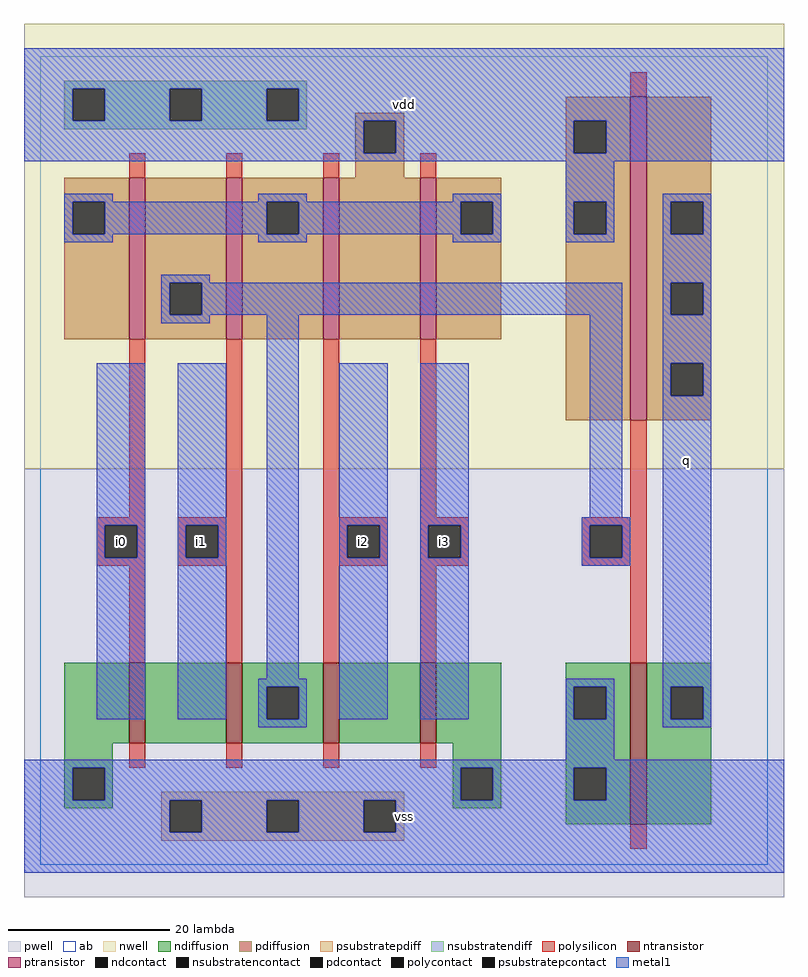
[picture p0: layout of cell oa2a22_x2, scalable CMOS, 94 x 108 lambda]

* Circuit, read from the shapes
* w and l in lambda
.subckt oa2a22_x2 i0 i1 i2 i3 q vdd vss
M1 n1 i0 vss vss nfet w=10 l=2
M2 n2 i1 n1 vss nfet w=10 l=2
M3 n3 i2 n2 vss nfet w=10 l=2
M4 vss i3 n3 vss nfet w=10 l=2
M5 q n2 vss vss nfet w=20 l=2
M6 n2 i0 n4 vdd pfet w=20 l=2
M7 n4 i1 n2 vdd pfet w=20 l=2
M8 vdd i2 n4 vdd pfet w=20 l=2
M9 n4 i3 vdd vdd pfet w=20 l=2
M10 q n2 vdd vdd pfet w=40 l=2
.ends

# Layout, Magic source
magic
tech scmos
<< ab >>
rect 0 0 90 100
<< pwell >>
rect -2 -4 92 49
<< nwell >>
rect -2 49 92 104
<< polysilicon >>
rect 73 95 75 98
rect 11 85 13 88
rect 23 85 25 88
rect 35 85 37 88
rect 47 85 49 88
rect 11 43 13 65
rect 23 43 25 65
rect 7 42 13 43
rect 7 38 8 42
rect 12 38 13 42
rect 7 37 13 38
rect 17 42 25 43
rect 17 38 18 42
rect 22 38 25 42
rect 17 37 25 38
rect 11 25 13 37
rect 23 25 25 37
rect 35 43 37 65
rect 47 43 49 65
rect 73 43 75 55
rect 35 42 43 43
rect 35 38 38 42
rect 42 38 43 42
rect 35 37 43 38
rect 47 42 53 43
rect 47 38 48 42
rect 52 38 53 42
rect 47 37 53 38
rect 67 42 75 43
rect 67 38 68 42
rect 72 38 75 42
rect 67 37 75 38
rect 35 25 37 37
rect 47 25 49 37
rect 73 25 75 37
rect 11 12 13 15
rect 23 12 25 15
rect 35 12 37 15
rect 47 12 49 15
rect 73 2 75 5
<< ndiffusion >>
rect 3 15 11 25
rect 13 15 23 25
rect 25 22 35 25
rect 25 18 28 22
rect 32 18 35 22
rect 25 15 35 18
rect 37 15 47 25
rect 49 15 57 25
rect 3 12 9 15
rect 51 12 57 15
rect 3 8 4 12
rect 8 8 9 12
rect 3 7 9 8
rect 51 8 52 12
rect 56 8 57 12
rect 51 7 57 8
rect 65 22 73 25
rect 65 18 66 22
rect 70 18 73 22
rect 65 12 73 18
rect 65 8 66 12
rect 70 8 73 12
rect 65 5 73 8
rect 75 22 83 25
rect 75 18 78 22
rect 82 18 83 22
rect 75 5 83 18
<< pdiffusion >>
rect 39 92 45 93
rect 39 88 40 92
rect 44 88 45 92
rect 65 92 73 95
rect 65 88 66 92
rect 70 88 73 92
rect 39 85 45 88
rect 3 82 11 85
rect 3 78 4 82
rect 8 78 11 82
rect 3 65 11 78
rect 13 72 23 85
rect 13 68 16 72
rect 20 68 23 72
rect 13 65 23 68
rect 25 82 35 85
rect 25 78 28 82
rect 32 78 35 82
rect 25 65 35 78
rect 37 65 47 85
rect 49 82 57 85
rect 49 78 52 82
rect 56 78 57 82
rect 49 65 57 78
rect 65 82 73 88
rect 65 78 66 82
rect 70 78 73 82
rect 65 55 73 78
rect 75 82 83 95
rect 75 78 78 82
rect 82 78 83 82
rect 75 72 83 78
rect 75 68 78 72
rect 82 68 83 72
rect 75 62 83 68
rect 75 58 78 62
rect 82 58 83 62
rect 75 55 83 58
<< metal1 >>
rect -2 96 92 101
rect -2 92 4 96
rect 8 92 16 96
rect 20 92 28 96
rect 32 92 92 96
rect -2 88 40 92
rect 44 88 66 92
rect 70 88 92 92
rect -2 87 92 88
rect 3 82 9 83
rect 27 82 33 83
rect 51 82 57 83
rect 3 78 4 82
rect 8 78 28 82
rect 32 78 52 82
rect 56 78 57 82
rect 3 77 9 78
rect 27 77 33 78
rect 51 77 57 78
rect 65 82 71 87
rect 65 78 66 82
rect 70 78 71 82
rect 65 77 71 78
rect 77 82 83 83
rect 77 78 78 82
rect 82 78 83 82
rect 15 72 21 73
rect 77 72 83 78
rect 15 68 16 72
rect 20 68 72 72
rect 15 67 21 68
rect 7 42 13 62
rect 7 38 8 42
rect 12 38 13 42
rect 7 18 13 38
rect 17 42 23 62
rect 17 38 18 42
rect 22 38 23 42
rect 17 18 23 38
rect 28 23 32 68
rect 37 42 43 62
rect 37 38 38 42
rect 42 38 43 42
rect 27 22 33 23
rect 27 18 28 22
rect 32 18 33 22
rect 37 18 43 38
rect 47 42 53 62
rect 68 43 72 68
rect 77 68 78 72
rect 82 68 83 72
rect 77 62 83 68
rect 77 58 78 62
rect 82 58 83 62
rect 47 38 48 42
rect 52 38 53 42
rect 47 18 53 38
rect 67 42 73 43
rect 67 38 68 42
rect 72 38 73 42
rect 67 37 73 38
rect 65 22 71 23
rect 65 18 66 22
rect 70 18 71 22
rect 27 17 33 18
rect 65 13 71 18
rect 77 22 83 58
rect 77 18 78 22
rect 82 18 83 22
rect 77 17 83 18
rect -2 12 92 13
rect -2 8 4 12
rect 8 8 52 12
rect 56 8 66 12
rect 70 8 92 12
rect -2 4 16 8
rect 20 4 28 8
rect 32 4 40 8
rect 44 4 92 8
rect -2 -1 92 4
<< ntransistor >>
rect 11 15 13 25
rect 23 15 25 25
rect 35 15 37 25
rect 47 15 49 25
rect 73 5 75 25
<< ptransistor >>
rect 11 65 13 85
rect 23 65 25 85
rect 35 65 37 85
rect 47 65 49 85
rect 73 55 75 95
<< polycontact >>
rect 8 38 12 42
rect 18 38 22 42
rect 38 38 42 42
rect 48 38 52 42
rect 68 38 72 42
<< ndcontact >>
rect 28 18 32 22
rect 4 8 8 12
rect 52 8 56 12
rect 66 18 70 22
rect 66 8 70 12
rect 78 18 82 22
<< pdcontact >>
rect 40 88 44 92
rect 66 88 70 92
rect 4 78 8 82
rect 16 68 20 72
rect 28 78 32 82
rect 52 78 56 82
rect 66 78 70 82
rect 78 78 82 82
rect 78 68 82 72
rect 78 58 82 62
<< psubstratepcontact >>
rect 16 4 20 8
rect 28 4 32 8
rect 40 4 44 8
<< nsubstratencontact >>
rect 4 92 8 96
rect 16 92 20 96
rect 28 92 32 96
<< psubstratepdiff >>
rect 15 8 45 9
rect 15 4 16 8
rect 20 4 28 8
rect 32 4 40 8
rect 44 4 45 8
rect 15 3 45 4
<< nsubstratendiff >>
rect 3 96 33 97
rect 3 92 4 96
rect 8 92 16 96
rect 20 92 28 96
rect 32 92 33 96
rect 3 91 33 92
<< labels >>
rlabel polycontact 10 40 10 40 6 i0
rlabel polycontact 10 40 10 40 6 i0
rlabel polycontact 20 40 20 40 6 i1
rlabel polycontact 20 40 20 40 6 i1
rlabel polycontact 40 40 40 40 6 i2
rlabel polycontact 40 40 40 40 6 i2
rlabel metal1 45 6 45 6 6 vss
rlabel metal1 45 6 45 6 6 vss
rlabel polycontact 50 40 50 40 6 i3
rlabel polycontact 50 40 50 40 6 i3
rlabel metal1 45 94 45 94 6 vdd
rlabel metal1 45 94 45 94 6 vdd
rlabel metal1 80 50 80 50 6 q
rlabel metal1 80 50 80 50 6 q
<< end >>
